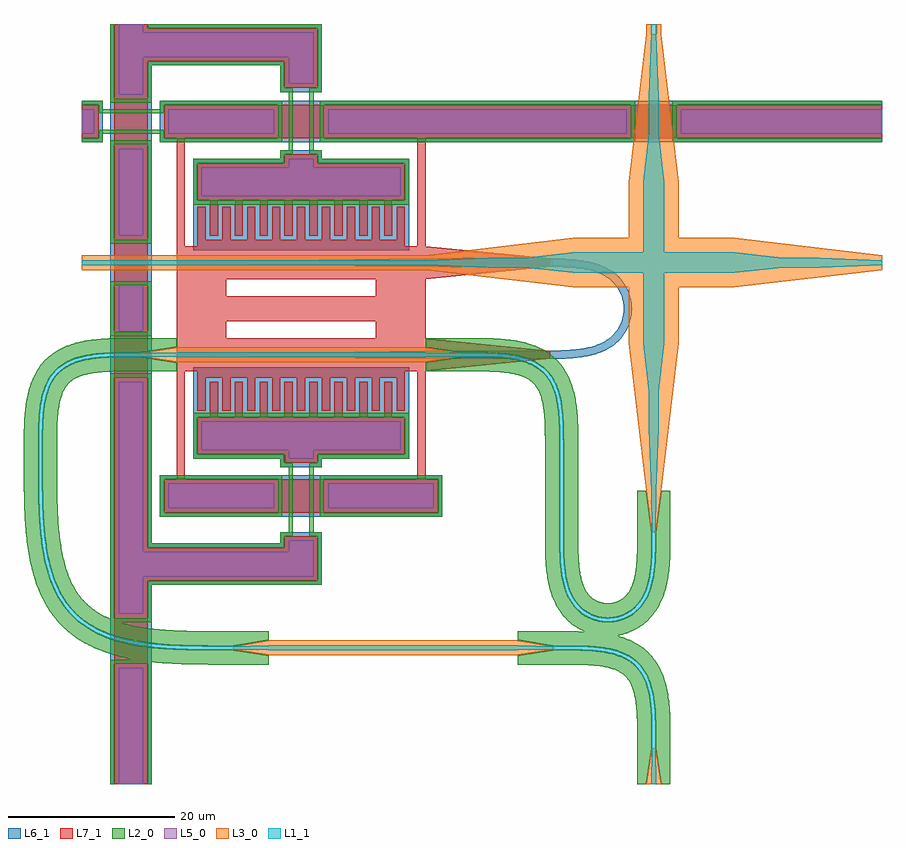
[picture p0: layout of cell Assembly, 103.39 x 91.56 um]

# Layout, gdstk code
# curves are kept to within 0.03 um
from math import pi, radians
import gdstk
lib = gdstk.Library(unit=1e-6, precision=1e-09)
def R(c, l, rs):  # rectangles x0, y0, x1, y1
    for r in rs: c.add(gdstk.rectangle(r[:2], r[2:], *l))
def A(c, l, x, y, w, h, nx, ny, dx, dy):  # array of equal rectangles
    R(c, l, [(x+i*dx, y+j*dy, x+i*dx+w, y+j*dy+h) for i in range(nx) for j in range(ny)])
def P(c, l, *ps):  # polygons
    for p in ps: c.add(gdstk.Polygon(p, *l))
L1_1 = (1, 1)
L2_0 = (2, 0)
L3_0 = (3, 0)
L5_0 = (5, 0)
L6_1 = (6, 1)
L7_1 = (7, 1)

bridge_short = lib.new_cell('Bridge_Short')
P(bridge_short, L2_0, [(-46.704,49.897),(-41.704,49.897),(-41.704,54.897),(-42.204,54.897),(-42.204,50.397),(-46.204,50.397),(-46.204,54.897),(-46.704,54.897)],
  [(-46.704,40.397),(-46.204,40.397),(-46.204,44.897),(-42.204,44.897),(-42.204,40.397),(-41.704,40.397),(-41.704,45.397),(-46.704,45.397)])
R(bridge_short, L5_0, [(-45.704,39.397,-42.704,44.397), (-45.704,50.897,-42.704,55.897)])
R(bridge_short, L6_1, [(-46.704,40.396,-41.704,45.397), (-46.704,45.397,-41.704,49.897), (-46.704,49.897,-41.704,54.897)])
R(bridge_short, L7_1, [(-46.204,39.897,-42.204,44.897), (-46.204,44.897,-42.204,50.397), (-46.204,50.397,-42.204,55.397)])

bend90sine600_r005000nm_ = lib.new_cell('Bend90Sine600_R005000nm_Off1000n')
P(bend90sine600_r005000nm_, L2_0, [(0.225,-12.107),(0.263,-8.306),(0.352,-6.985),(0.519,-5.749),(0.787,-4.625),(1.169,-3.626),(1.676,-2.765),(2.177,-2.177),(2.765,-1.676),(3.626,-1.169),(4.625,-0.787),(5.749,-0.519),(6.985,-0.352),(8.306,-0.263),(12.107,-0.225),(12.107,-2),(8.381,-2.036),(7.155,-2.119),(6.27,-2.231),(5.311,-2.436),(4.524,-2.711),(3.912,-3.042),(3.433,-3.433),(3.042,-3.912),(2.711,-4.524),(2.436,-5.311),(2.231,-6.27),(2.119,-7.155),(2.036,-8.381),(2,-12.107)],
  [(-2,-12.107),(-1.992,-9.378),(-1.93,-7.636),(-1.799,-6.195),(-1.557,-4.794),(-1.165,-3.447),(-0.714,-2.416),(-0.128,-1.462),(0.603,-0.603),(1.462,0.128),(2.416,0.714),(3.447,1.165),(4.794,1.557),(6.195,1.799),(7.636,1.93),(9.378,1.992),(12.107,2),(12.107,0.225),(8.013,0.174),(6.68,0.07),(5.425,-0.123),(4.272,-0.427),(3.432,-0.763),(2.501,-1.312),(1.859,-1.859),(1.312,-2.501),(0.763,-3.432),(0.427,-4.272),(0.123,-5.425),(-0.07,-6.68),(-0.174,-8.013),(-0.225,-12.107)])
bend90sine600_r005000nm_.add(gdstk.FlexPath([(0,-12.107),(0,-10.538),(0.002,-9.97),(0.005,-9.688),(0.008,-9.407),(0.013,-9.127),(0.02,-8.848),(0.028,-8.572),(0.038,-8.297),(0.051,-8.025),(0.066,-7.755),(0.083,-7.488),(0.104,-7.224),(0.128,-6.963),(0.154,-6.705),(0.185,-6.45),(0.219,-6.2),(0.256,-5.952),(0.298,-5.709),(0.344,-5.47),(0.394,-5.236),(0.449,-5.006),(0.508,-4.78),(0.572,-4.559),(0.641,-4.343),(0.714,-4.132),(0.793,-3.926),(0.877,-3.725),(0.966,-3.529),(1.061,-3.339),(1.161,-3.154),(1.266,-2.975),(1.378,-2.802),(1.494,-2.633),(1.617,-2.471),(1.745,-2.314),(1.879,-2.163),(2.018,-2.018),(2.163,-1.879),(2.314,-1.745),(2.471,-1.617),(2.633,-1.494),(2.802,-1.378),(2.975,-1.266),(3.154,-1.161),(3.339,-1.061),(3.529,-0.966),(3.725,-0.877),(3.926,-0.793),(4.132,-0.714),(4.343,-0.641),(4.559,-0.572),(4.78,-0.508),(5.006,-0.449),(5.236,-0.394),(5.47,-0.344),(5.709,-0.298),(5.952,-0.256),(6.2,-0.219),(6.45,-0.185),(6.705,-0.154),(6.963,-0.128),(7.224,-0.104),(7.488,-0.083),(7.755,-0.066),(8.025,-0.051),(8.297,-0.038),(8.572,-0.028),(8.848,-0.02),(9.127,-0.013),(9.407,-0.008),(9.688,-0.005),(9.97,-0.002),(10.538,0),(12.107,0)], 0.45, ends="flush", simple_path=True, layer=1, datatype=1))  # L1_1

bend90sine600_r010000nm_ = lib.new_cell('Bend90Sine600_R010000nm_Off1000n')
P(bend90sine600_r010000nm_, L2_0, [(0.225,-23.214),(0.244,-18.667),(0.351,-15.61),(0.574,-13.072),(0.966,-10.711),(1.194,-9.762),(1.56,-8.563),(2.254,-6.914),(2.668,-6.161),(3.129,-5.457),(3.638,-4.801),(4.195,-4.195),(4.801,-3.638),(5.457,-3.129),(6.161,-2.668),(6.914,-2.254),(8.563,-1.56),(9.762,-1.194),(10.711,-0.966),(13.072,-0.574),(15.61,-0.351),(18.667,-0.244),(23.214,-0.225),(23.214,-2),(19.08,-2.013),(16.076,-2.102),(13.621,-2.298),(11.384,-2.639),(9.669,-3.066),(8.893,-3.328),(7.937,-3.73),(6.677,-4.443),(6.122,-4.85),(5.45,-5.45),(4.85,-6.122),(4.443,-6.677),(3.73,-7.937),(3.328,-8.893),(3.066,-9.669),(2.639,-11.384),(2.298,-13.621),(2.102,-16.076),(2.013,-19.08),(2,-23.214)],
  [(-2,-23.214),(-1.974,-18.234),(-1.846,-15.09),(-1.535,-12.06),(-1.13,-9.888),(-0.541,-7.83),(-0.166,-6.853),(0.265,-5.916),(0.761,-5.015),(1.317,-4.165),(1.939,-3.364),(2.622,-2.622),(3.364,-1.939),(4.165,-1.317),(5.015,-0.761),(5.916,-0.265),(6.853,0.166),(7.83,0.541),(9.888,1.13),(12.06,1.535),(15.09,1.846),(18.234,1.974),(23.214,2),(23.214,0.225),(18.659,0.206),(15.584,0.099),(13.018,-0.128),(10.615,-0.526),(8.715,-1.034),(7.827,-1.354),(6.712,-1.852),(5.929,-2.282),(5.195,-2.763),(4.511,-3.294),(3.877,-3.877),(3.294,-4.511),(2.763,-5.195),(2.282,-5.929),(1.852,-6.712),(1.354,-7.827),(1.034,-8.715),(0.526,-10.615),(0.128,-13.018),(-0.099,-15.584),(-0.206,-18.659),(-0.225,-23.214)])
bend90sine600_r010000nm_.add(gdstk.FlexPath([(0,-23.214),(0,-21.421),(0.002,-20.629),(0.003,-20.234),(0.006,-19.84),(0.009,-19.447),(0.013,-19.054),(0.019,-18.663),(0.026,-18.273),(0.034,-17.885),(0.045,-17.499),(0.057,-17.114),(0.071,-16.732),(0.087,-16.351),(0.105,-15.973),(0.126,-15.597),(0.15,-15.224),(0.176,-14.853),(0.205,-14.486),(0.237,-14.121),(0.272,-13.759),(0.31,-13.401),(0.351,-13.045),(0.397,-12.694),(0.445,-12.346),(0.497,-12.001),(0.554,-11.661),(0.614,-11.324),(0.678,-10.992),(0.746,-10.663),(0.819,-10.339),(0.895,-10.019),(0.977,-9.704),(1.063,-9.393),(1.153,-9.087),(1.248,-8.785),(1.348,-8.489),(1.453,-8.197),(1.563,-7.91),(1.678,-7.628),(1.798,-7.351),(1.923,-7.08),(2.053,-6.813),(2.188,-6.552),(2.329,-6.296),(2.475,-6.045),(2.627,-5.8),(2.784,-5.56),(2.946,-5.326),(3.114,-5.097),(3.287,-4.874),(3.466,-4.656),(3.651,-4.444),(3.841,-4.237),(4.036,-4.036),(4.237,-3.841),(4.444,-3.651),(4.656,-3.466),(4.874,-3.287),(5.097,-3.114),(5.326,-2.946),(5.56,-2.784),(5.8,-2.627),(6.045,-2.475),(6.296,-2.329),(6.552,-2.188),(6.813,-2.053),(7.08,-1.923),(7.351,-1.798),(7.628,-1.678),(7.91,-1.563),(8.197,-1.453),(8.489,-1.348),(8.785,-1.248),(9.087,-1.153),(9.393,-1.063),(9.704,-0.977),(10.019,-0.895),(10.339,-0.819),(10.663,-0.746),(10.992,-0.678),(11.324,-0.614),(11.661,-0.554),(12.001,-0.497),(12.346,-0.445),(12.694,-0.397),(13.045,-0.351),(13.401,-0.31),(13.759,-0.272),(14.121,-0.237),(14.486,-0.205),(14.853,-0.176),(15.224,-0.15),(15.597,-0.126),(15.973,-0.105),(16.351,-0.087),(16.732,-0.071),(17.114,-0.057),(17.499,-0.045),(17.885,-0.034),(18.273,-0.026),(18.663,-0.019),(19.054,-0.013),(19.447,-0.009),(19.84,-0.006),(20.234,-0.003),(20.629,-0.002),(21.421,0),(23.214,0)], 0.45, ends="flush", simple_path=True, layer=1, datatype=1))  # L1_1

sinecircsine180_0p6_r005 = lib.new_cell('SineCircSine180_0p6_R005000nm_Of')
P(sinecircsine180_0p6_r005, L2_0, [(3.554,-5.556),(3.535,-3.345),(3.436,-1.605),(3.25,-0.314),(2.903,0.888),(2.652,1.414),(2.363,1.849),(1.756,2.433),(1.343,2.682),(0.893,2.864),(0.061,2.999),(-0.419,2.97),(-0.893,2.864),(-1.343,2.682),(-1.756,2.433),(-2.363,1.849),(-2.846,1.024),(-3.164,0.067),(-3.411,-1.372),(-3.527,-3.087),(-3.554,-5.554),(-5.329,-5.554),(-5.309,-3.301),(-5.226,-1.689),(-5.034,-0.196),(-4.767,0.929),(-4.384,1.927),(-3.877,2.788),(-3.237,3.51),(-2.47,4.087),(-1.603,4.498),(-0.671,4.727),(0.289,4.766),(1.236,4.613),(2.134,4.271),(2.945,3.759),(3.638,3.093),(4.095,2.46),(4.471,1.738),(4.7,1.14),(4.887,0.494),(5.075,-0.435),(5.278,-2.483),(5.329,-5.554)],
  [(-7.554,-5.554),(-7.525,-2.949),(-7.443,-1.503),(-7.223,0.199),(-6.895,1.578),(-6.392,2.887),(-5.84,3.862),(-5.331,4.538),(-4.951,4.951),(-4.09,5.681),(-3.624,5.99),(-2.872,6.383),(-2.355,6.593),(-1.536,6.83),(-0.706,6.965),(-0.141,6.999),(0.706,6.965),(1.259,6.886),(2.355,6.593),(3.125,6.264),(3.624,5.99),(4.317,5.512),(4.746,5.145),(5.331,4.538),(5.681,4.091),(6.134,3.384),(6.619,2.368),(6.895,1.578),(7.17,0.48),(7.353,-0.645),(7.484,-2.079),(7.554,-5.552),(5.779,-5.554),(5.713,-2.188),(5.623,-1.126),(5.476,-0.116),(5.263,0.834),(4.97,1.711),(4.589,2.51),(4.241,3.052),(3.841,3.542),(3.386,3.98),(2.881,4.359),(2.334,4.675),(1.755,4.922),(1.148,5.098),(0.526,5.199),(-0.105,5.224),(-0.735,5.173),(-1.352,5.047),(-1.951,4.847),(-2.52,4.577),(-3.054,4.24),(-3.543,3.84),(-3.98,3.385),(-4.363,2.877),(-4.693,2.317),(-5.05,1.499),(-5.323,0.602),(-5.519,-0.363),(-5.728,-2.461),(-5.779,-5.554)])
sinecircsine180_0p6_r005.add(gdstk.FlexPath([(-5.554,-5.554),(-5.554,-5.269),(-5.553,-4.984),(-5.553,-4.7),(-5.549,-4.134),(-5.545,-3.853),(-5.54,-3.573),(-5.534,-3.295),(-5.526,-3.018),(-5.515,-2.744),(-5.503,-2.472),(-5.488,-2.202),(-5.47,-1.935),(-5.45,-1.67),(-5.426,-1.409),(-5.399,-1.151),(-5.369,-0.897),(-5.335,-0.646),(-5.297,-0.399),(-5.255,-0.156),(-5.21,0.083),(-5.159,0.318),(-5.105,0.548),(-5.046,0.774),(-4.982,0.995),(-4.913,1.211),(-4.839,1.422),(-4.761,1.628),(-4.677,1.829),(-4.587,2.024),(-4.493,2.214),(-4.393,2.399),(-4.287,2.578),(-4.176,2.752),(-4.059,2.92),(-3.937,3.083),(-3.809,3.239),(-3.675,3.39),(-3.536,3.536),(-3.39,3.675),(-3.24,3.809),(-3.084,3.936),(-2.923,4.057),(-2.757,4.171),(-2.587,4.279),(-2.412,4.38),(-2.234,4.473),(-2.052,4.559),(-1.867,4.638),(-1.679,4.71),(-1.488,4.774),(-1.294,4.83),(-1.099,4.878),(-0.901,4.918),(-0.703,4.95),(-0.503,4.975),(-0.302,4.991),(-0.101,4.999),(0.101,4.999),(0.302,4.991),(0.503,4.975),(0.703,4.95),(0.901,4.918),(1.099,4.878),(1.294,4.83),(1.488,4.774),(1.679,4.71),(1.867,4.638),(2.052,4.559),(2.234,4.473),(2.412,4.38),(2.587,4.279),(2.757,4.171),(2.923,4.057),(3.084,3.936),(3.24,3.809),(3.39,3.675),(3.536,3.536),(3.675,3.39),(3.809,3.239),(3.937,3.083),(4.059,2.92),(4.176,2.752),(4.287,2.578),(4.393,2.399),(4.493,2.214),(4.587,2.024),(4.677,1.829),(4.761,1.628),(4.839,1.422),(4.913,1.211),(4.982,0.995),(5.046,0.774),(5.105,0.548),(5.159,0.318),(5.21,0.083),(5.255,-0.156),(5.297,-0.399),(5.335,-0.646),(5.369,-0.897),(5.399,-1.151),(5.426,-1.409),(5.45,-1.67),(5.47,-1.935),(5.488,-2.202),(5.503,-2.472),(5.515,-2.744),(5.526,-3.018),(5.534,-3.295),(5.54,-3.573),(5.545,-3.853),(5.549,-4.134),(5.553,-4.7),(5.553,-4.984),(5.554,-5.269),(5.554,-5.554)], 0.45, ends="flush", simple_path=True, layer=1, datatype=1))  # L1_1

bottomwaveguide = lib.new_cell('BottomWaveguide')
R(bottomwaveguide, L1_1, [(-80.893,-77.162,-50.892,-76.562), (-45.833,-62.933,-45.383,-53.648), (-35.1,-50.433,-33.9,-45.933), (-92,-41.841,-62,-41.241), (-35.75,-40.183,-33.25,-20.683), (-44.25,-31.683,-24.75,-29.183), (-54.5,-31.033,-50,-29.833), (-19,-31.033,-14.5,-29.833), (-103.43,-30.733,-69,-30.133), (-69,-30.733,-62,-30.133), (-35.1,-14.933,-33.9,-10.433)])
P(bottomwaveguide, L1_1, [(-34.8,-93.254),(-34.2,-93.254),(-34.275,-88.969),(-34.725,-88.969)],
  [(-80.893,-77.162),(-80.893,-76.562),(-85.178,-76.637),(-85.178,-77.087)],
  [(-50.892,-76.562),(-50.892,-77.162),(-46.607,-77.087),(-46.607,-76.637)],
  [(-92,-41.241),(-92,-41.841),(-96.285,-41.766),(-96.285,-41.316)],
  [(-62,-41.241),(-62,-41.841),(-57.715,-41.766),(-57.715,-41.316)],
  [(-34.2,-57.933),(-34.8,-57.933),(-34.725,-62.933),(-34.275,-62.933)],
  [(-33.9,-10.433),(-34.2,-2.933),(-34.8,-2.933),(-35.1,-10.433)],
  [(-33.25,-20.683),(-33.9,-14.933),(-35.1,-14.933),(-35.75,-20.683)],
  [(-35.1,-50.433),(-34.8,-57.933),(-34.2,-57.933),(-33.9,-50.433)],
  [(-35.75,-40.183),(-35.1,-45.933),(-33.9,-45.933),(-33.25,-40.183)],
  [(-24.75,-31.683),(-19,-31.033),(-19,-29.833),(-24.75,-29.183)],
  [(-14.5,-31.033),(-7,-30.733),(-7,-30.133),(-14.5,-29.833)],
  [(-54.5,-29.833),(-62,-30.133),(-62,-30.733),(-54.5,-31.033)],
  [(-44.25,-29.183),(-50,-29.833),(-50,-31.033),(-44.25,-31.683)])
R(bottomwaveguide, L2_0, [(-47.608,-62.933,-45.833,-53.648), (-45.383,-62.931,-43.608,-53.648)])
P(bottomwaveguide, L2_0, [(-32.5,-88.969),(-34.275,-88.969),(-33.6,-93.254),(-32.5,-93.254)],
  [(-36.5,-88.969),(-34.725,-88.969),(-35.4,-93.254),(-36.5,-93.254)],
  [(-85.178,-74.862),(-85.178,-76.637),(-80.893,-75.962),(-80.893,-74.862)],
  [(-85.178,-78.862),(-85.178,-77.087),(-80.893,-77.762),(-80.893,-78.862)],
  [(-46.607,-78.862),(-46.607,-77.087),(-50.892,-77.762),(-50.892,-78.862)],
  [(-46.607,-74.862),(-46.607,-76.637),(-50.892,-75.962),(-50.892,-74.862)],
  [(-96.285,-43.541),(-96.285,-41.766),(-92,-42.441),(-92,-43.541)],
  [(-96.285,-39.541),(-96.285,-41.316),(-92,-40.641),(-92,-39.541)],
  [(-57.715,-43.541),(-57.715,-41.766),(-62,-42.441),(-62,-43.541)],
  [(-57.715,-39.541),(-57.715,-41.316),(-62,-40.641),(-62,-39.541)],
  [(-32.5,-62.933),(-34.275,-62.933),(-33.6,-57.933),(-32.5,-57.933)],
  [(-36.5,-62.933),(-34.725,-62.933),(-35.4,-57.933),(-36.5,-57.933)])
R(bottomwaveguide, L3_0, [(-80.893,-77.762,-50.892,-75.962), (-92,-42.441,-62,-40.641), (-37.5,-40.183,-31.5,-20.683), (-44.25,-33.433,-24.75,-27.433), (-103.43,-31.333,-69,-29.533), (-69,-31.333,-62,-29.533)])
P(bottomwaveguide, L3_0, [(-35.4,-93.254),(-33.6,-93.254),(-34.275,-88.969),(-34.725,-88.969)],
  [(-80.893,-77.762),(-80.893,-75.962),(-85.178,-76.637),(-85.178,-77.087)],
  [(-50.892,-75.962),(-50.892,-77.762),(-46.607,-77.087),(-46.607,-76.637)],
  [(-92,-40.641),(-92,-42.441),(-96.285,-41.766),(-96.285,-41.316)],
  [(-62,-40.641),(-62,-42.441),(-57.715,-41.766),(-57.715,-41.316)],
  [(-33.6,-57.933),(-35.4,-57.933),(-34.725,-62.933),(-34.275,-62.933)],
  [(-35.4,-2.933),(-37.5,-20.683),(-31.5,-20.683),(-33.6,-2.933)],
  [(-33.6,-57.933),(-31.5,-40.183),(-37.5,-40.183),(-35.4,-57.933)],
  [(-62,-31.333),(-44.25,-33.433),(-44.25,-27.433),(-62,-29.533)],
  [(-24.75,-33.433),(-7,-31.333),(-7,-29.533),(-24.75,-27.433)])
bottomwaveguide.add(gdstk.Reference(bend90sine600_r005000nm_, (-34.5,-76.862), rotation=3*pi/2))
bottomwaveguide.add(gdstk.Reference(bend90sine600_r010000nm_, (-108.392,-76.862), rotation=pi/2))
bottomwaveguide.add(gdstk.Reference(bend90sine600_r005000nm_, (-108.392,-41.541), rotation=3*pi/2, x_reflection=True))
bottomwaveguide.add(gdstk.Reference(bend90sine600_r005000nm_, (-45.608,-41.541), rotation=3*pi/2))
bottomwaveguide.add(gdstk.Reference(sinecircsine180_0p6_r005, (-40.054,-68.487), rotation=pi))

c_sinecircsine180_0p6_r005 = lib.new_cell('SineCircSine180_0p6_R005000nm__2')
c_sinecircsine180_0p6_r005.add(gdstk.FlexPath([(-5.554,-15.554),(-5.554,-5.269),(-5.553,-4.984),(-5.553,-4.7),(-5.549,-4.134),(-5.545,-3.853),(-5.54,-3.573),(-5.534,-3.295),(-5.526,-3.018),(-5.515,-2.744),(-5.503,-2.472),(-5.488,-2.202),(-5.47,-1.935),(-5.45,-1.67),(-5.426,-1.409),(-5.399,-1.151),(-5.369,-0.897),(-5.335,-0.646),(-5.297,-0.399),(-5.255,-0.156),(-5.21,0.083),(-5.159,0.318),(-5.105,0.548),(-5.046,0.774),(-4.982,0.995),(-4.913,1.211),(-4.839,1.422),(-4.761,1.628),(-4.677,1.829),(-4.587,2.024),(-4.493,2.214),(-4.393,2.399),(-4.287,2.578),(-4.176,2.752),(-4.059,2.92),(-3.937,3.083),(-3.809,3.239),(-3.675,3.39),(-3.536,3.536),(-3.39,3.675),(-3.24,3.809),(-3.084,3.936),(-2.923,4.057),(-2.757,4.171),(-2.587,4.279),(-2.412,4.38),(-2.234,4.473),(-2.052,4.559),(-1.867,4.638),(-1.679,4.71),(-1.488,4.774),(-1.294,4.83),(-1.099,4.878),(-0.901,4.918),(-0.703,4.95),(-0.503,4.975),(-0.302,4.991),(-0.101,4.999),(0.101,4.999),(0.302,4.991),(0.503,4.975),(0.703,4.95),(0.901,4.918),(1.099,4.878),(1.294,4.83),(1.488,4.774),(1.679,4.71),(1.867,4.638),(2.052,4.559),(2.234,4.473),(2.412,4.38),(2.587,4.279),(2.757,4.171),(2.923,4.057),(3.084,3.936),(3.24,3.809),(3.39,3.675),(3.536,3.536),(3.675,3.39),(3.809,3.239),(3.937,3.083),(4.059,2.92),(4.176,2.752),(4.287,2.578),(4.393,2.399),(4.493,2.214),(4.587,2.024),(4.677,1.829),(4.761,1.628),(4.839,1.422),(4.913,1.211),(4.982,0.995),(5.046,0.774),(5.105,0.548),(5.159,0.318),(5.21,0.083),(5.255,-0.156),(5.297,-0.399),(5.335,-0.646),(5.369,-0.897),(5.399,-1.151),(5.426,-1.409),(5.45,-1.67),(5.47,-1.935),(5.488,-2.202),(5.503,-2.472),(5.515,-2.744),(5.526,-3.018),(5.534,-3.295),(5.54,-3.573),(5.545,-3.853),(5.549,-4.134),(5.553,-4.7),(5.553,-4.984),(5.554,-5.269),(5.554,-15.554)], 1, ends="flush", simple_path=True, layer=6, datatype=1))  # L6_1

couplerbody = lib.new_cell('CouplerBody')
R(couplerbody, L6_1, [(-12.298,-34.924,-11.298,-19.924), (-1.193,-34.923,-0.193,-19.923)])
P(couplerbody, L7_1, [(-0.193,-19.923),(-1.193,-19.923),(-2.693,-34.923),(1.307,-34.923)],
  [(-11.298,-19.924),(-12.298,-19.924),(-13.798,-34.924),(-9.798,-34.924)])
couplerbody.add(gdstk.Reference(c_sinecircsine180_0p6_r005, (-6.244,-15.557)))

anchorbeam_l13w1 = lib.new_cell('AnchorBeam_L13W1')
R(anchorbeam_l13w1, L5_0, [(-34.954,29.146,-31.954,32.146)])
R(anchorbeam_l13w1, L7_1, [(-35.454,28.646,-31.454,32.646), (-33.954,32.646,-32.954,45.646)])

comb_l4w1_g500_d500_stop = lib.new_cell('Comb_L4W1_G500_D500_StoppersCent')
P(comb_l4w1_g500_d500_stop, L2_0, [(214.141,5.825),(240.141,5.825),(240.141,11.325),(234.891,11.325),(234.891,10.825),(239.641,10.825),(239.641,6.325),(214.641,6.325),(214.641,10.825),(219.891,10.825),(219.891,11.325),(214.141,11.325)])
R(comb_l4w1_g500_d500_stop, L5_0, [(215.141,6.825,239.141,10.325)])
R(comb_l4w1_g500_d500_stop, L6_1, [(214.141,0.325,240.141,11.325)])
A(comb_l4w1_g500_d500_stop, L7_1, 214.641, 0.825, 1, 1.3, 9, 1, 3, 0)
A(comb_l4w1_g500_d500_stop, L7_1, 214.641, 1.575, 1, 4, 9, 1, 3, 0)
A(comb_l4w1_g500_d500_stop, L7_1, 216.141, 2.075, 1, 4.25, 8, 1, 3, 0)
R(comb_l4w1_g500_d500_stop, L7_1, [(214.641,0.825,239.641,1.575), (214.641,6.325,239.641,10.825)])

couplerinlet = lib.new_cell('CouplerInlet')
P(couplerinlet, L6_1, [(-33.954,47.721),(-3.954,48.146),(-3.954,47.146),(-33.954,47.571)])
R(couplerinlet, L7_1, [(-33.954,45.646,-3.954,49.646)])

actuator_joined = lib.new_cell('Actuator_Joined')
R(actuator_joined, L7_1, [(-25.053,9.311,-19.053,16.419), (-1.053,9.311,4.947,16.419), (-19.053,11.365,-1.053,14.365)])
actuator_joined.add(gdstk.Reference(anchorbeam_l13w1, (-29.007,-40.335), rotation=pi, x_reflection=True))
actuator_joined.add(gdstk.Reference(anchorbeam_l13w1, (-58.007,-40.335), rotation=pi, x_reflection=True))
actuator_joined.add(gdstk.Reference(comb_l4w1_g500_d500_stop, (-237.194,6.136), x_reflection=True))
actuator_joined.add(gdstk.Reference(couplerinlet, (8.901,54.957), x_reflection=True))
actuator_joined.add(gdstk.Reference(anchorbeam_l13w1, (-29.007,66.065), rotation=pi))
actuator_joined.add(gdstk.Reference(anchorbeam_l13w1, (-58.007,66.065), rotation=pi))
actuator_joined.add(gdstk.Reference(comb_l4w1_g500_d500_stop, (-237.194,19.594)))
actuator_joined.add(gdstk.Reference(couplerinlet, (8.901,-29.227)))

u_coupler_wcomb_wanchors = lib.new_cell('U_Coupler_wComb_wAnchors')
u_coupler_wcomb_wanchors.add(gdstk.Reference(couplerbody, (66.424,18.31), rotation=3*pi/2))
u_coupler_wcomb_wanchors.add(gdstk.Reference(actuator_joined, (26.553,11.689)))

assembly = lib.new_cell('Assembly')
R(assembly, L1_1, [(75.588,90.331,76.188,91.567)])
R(assembly, L2_0, [(10.398,0.01,10.898,10.001), (14.898,0.01,15.398,10.001), (15.398,24.001,35.892,24.501), (10.398,24.501,10.898,44.471), (35.392,24.501,35.892,29.864), (14.898,28.5,31.392,29), (14.898,29,15.398,44.471), (30.892,29,31.392,29.864), (30.892,29.864,31.892,30.364), (31.892,29.864,32.392,38.684), (34.392,29.864,34.892,38.684), (34.892,29.864,35.892,30.364), (16.392,32.213,16.892,37.213), (16.892,32.213,21.392,32.713), (21.392,32.213,26.141,32.713), (40.642,32.213,45.392,32.713), (45.392,32.213,49.892,32.713), (49.892,32.213,50.392,37.213), (16.892,36.713,21.392,37.213), (21.392,36.713,26.142,37.213), (40.642,36.713,45.392,37.213), (45.392,36.713,49.892,37.213), (30.892,38.184,31.892,38.684), (34.892,38.184,35.892,38.684), (30.892,38.684,31.392,39.713), (35.392,38.684,35.892,39.713), (26.142,39.213,30.892,39.713), (35.892,39.213,41.142,39.713), (10.398,70.065,10.898,72.568), (14.898,70.065,15.398,72.568), (26.142,74.821,30.892,75.321), (30.892,74.821,31.392,75.85), (35.392,74.821,35.892,75.85), (35.892,74.821,41.142,75.321), (30.892,75.85,31.892,76.35), (31.892,75.85,32.392,83.863), (34.392,75.85,34.892,83.863), (34.892,75.85,35.892,76.35), (6.958,77.321,8.987,77.821), (8.987,77.321,9.487,78.321), (16.392,77.321,16.892,78.321), (16.892,77.321,17.921,77.821), (16.892,77.321,21.392,77.821), (21.392,77.321,26.142,77.821), (40.642,77.321,45.392,77.821), (45.392,77.321,49.892,77.821), (49.892,77.321,68.63,77.821), (83.131,77.321,103.388,77.821), (8.987,78.321,16.892,78.821), (8.987,80.821,16.892,81.321), (8.987,81.321,9.487,82.321), (16.392,81.321,16.892,82.321), (6.958,81.821,8.987,82.321), (16.892,81.821,17.921,82.321), (16.892,81.821,21.392,82.321), (21.392,81.821,26.142,82.321), (40.643,81.821,45.392,82.321), (45.392,81.821,49.892,82.321), (49.892,81.821,68.63,82.321), (83.131,81.821,103.388,82.321), (30.892,83.363,31.892,83.863), (34.892,83.363,35.892,83.863), (30.892,83.863,31.392,84.892), (35.392,83.863,35.892,84.892), (35.392,84.877,35.892,91.067), (30.892,84.892,31.392,86.568), (14.898,86.568,31.392,87.068), (10.398,87.068,10.898,91.567), (14.898,91.067,35.892,91.567)])
R(assembly, L3_0, [(74.988,90.331,75.588,91.567), (76.188,90.331,76.788,91.567)])
R(assembly, L5_0, [(11.398,0.01,14.398,9.001), (14.398,25,34.892,28), (11.398,25.501,14.398,43.471), (31.892,28,34.892,29.364), (20.392,33.213,25.142,36.213), (41.642,33.213,46.392,36.213), (31.894,39.184,34.894,40.713), (11.398,71.065,14.398,71.568), (31.892,73.821,34.892,75.35), (6.958,78.321,8.487,81.321), (17.392,78.321,18.921,81.321), (20.392,78.321,25.142,81.321), (41.642,78.321,46.392,81.321), (49.392,78.321,67.63,81.321), (84.13,78.321,103.388,81.321), (31.892,84.363,34.892,85.892), (31.892,85.892,34.892,87.568), (14.398,87.568,34.892,90.568), (11.398,88.068,14.398,91.567)])
R(assembly, L6_1, [(10.398,0.01,15.398,10), (10.398,24.001,30.892,29), (30.892,24.001,35.892,30.364), (10.398,29,15.398,44.47), (16.392,32.213,26.141,37.213), (40.642,32.213,50.392,37.213), (30.892,38.184,35.892,39.213), (10.398,70.065,15.398,72.568), (30.892,75.321,35.892,76.35), (6.958,77.321,9.487,82.321), (16.392,77.321,26.142,82.321), (40.643,77.321,50.392,82.321), (50.392,77.321,68.63,82.321), (83.131,77.321,103.388,82.321), (30.892,83.363,35.892,91.567), (10.398,86.568,30.892,91.567)])
R(assembly, L7_1, [(10.898,0.01,14.898,9.501), (14.398,24.501,35.392,28.501), (10.898,25.001,14.898,43.971), (31.392,28.501,35.392,29.864), (20.892,32.713,25.642,36.713), (41.142,32.713,45.892,36.713), (31.394,38.684,35.394,40.713), (10.893,70.565,14.898,72.068), (31.392,73.821,35.392,75.85), (6.958,77.821,8.987,81.821), (16.892,77.821,18.921,81.821), (20.892,77.821,25.642,81.821), (41.142,77.821,45.892,81.821), (49.892,77.821,68.13,81.821), (83.63,77.821,103.388,81.821), (31.392,83.863,35.392,85.892), (31.392,85.892,35.392,87.067), (14.898,87.067,35.392,91.067), (10.898,87.568,14.898,91.567)])
assembly.add(gdstk.Reference(bridge_short, (123.527,124.025), rotation=pi/2))
assembly.add(gdstk.Reference(bridge_short, (57.102,-30.396)))
assembly.add(gdstk.Reference(bridge_short, (-31.306,127.465), rotation=pi))
assembly.add(gdstk.Reference(bridge_short, (57.102,4.074)))
assembly.add(gdstk.Reference(bridge_short, (57.102,15.168)))
assembly.add(gdstk.Reference(bridge_short, (-14.255,-9.491), rotation=3*pi/2))
assembly.add(gdstk.Reference(bridge_short, (81.039,124.025), rotation=pi/2))
assembly.add(gdstk.Reference(bottomwaveguide, (110.388,93.264)))
assembly.add(gdstk.Reference(u_coupler_wcomb_wanchors, (16.892,32.713)))

lib.write_gds('Assembly.gds')
